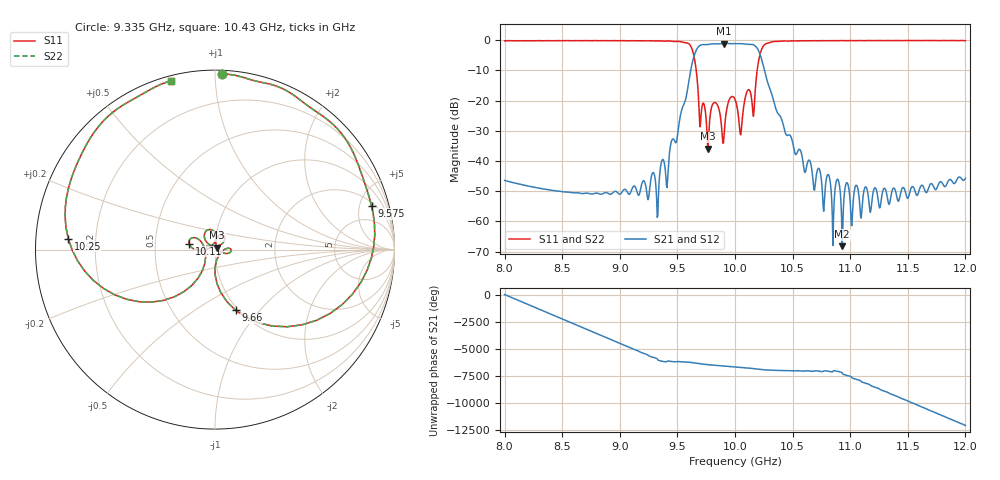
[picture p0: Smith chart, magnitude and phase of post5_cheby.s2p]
! 5th-order post, Chebyshev 0.1 dB (base-paper dimensions)
! openEMS v0.37 FDTD, reciprocal & symmetric: S22=S11, S12=S21
# GHz S MA R 50
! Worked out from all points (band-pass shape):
!   801 points, 8 GHz to 12 GHz, reference 50 ohm
!   highest |S21| = -1.08 dB at 9.905 GHz (marker M1); lowest = -68.2 dB at 10.93 GHz (marker M2)
!   |S21| within 3 dB of the highest: 9.655 GHz to 10.21 GHz (556.4 MHz wide, 5.6 % of centre)
!   lowest |S11| = -35.9 dB at 9.765 GHz (marker M3), VSWR 1.03, Z = 51.3 + j1.02 ohm
!   |S11| at or under -10 dB: 9.663 GHz to 10.19 GHz (528.8 MHz wide, 5.33 % of centre)
!   |S22| runs from -35.9 to -0.1 dB; largest |S21 - S12| = 0
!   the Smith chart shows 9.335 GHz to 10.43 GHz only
!   S11 on the Smith chart (normalised r, x): 9.335 GHz: 0.02, +1.04; 9.575 GHz: 2.38, +6.43; 9.66 GHz: 0.97, -0.75; 10.11 GHz: 0.75, +0.05; 10.25 GHz: 0.10, +0.04; 10.43 GHz: 0.02, +0.77
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8  0.9759 -110.1  0.00476 74.5  0.00476 74.5  0.9759 -110.1
8.67  0.9835 175.3  0.002892 -82.5  0.002892 -82.5  0.9835 175.3
9.335  0.9781 87.9  0.002581 80.2  0.002581 80.2  0.9781 87.9
9.575  0.9055 15.6  0.1125 -87.3  0.1125 -87.3  0.9055 15.6
9.66  0.3569 -71.3  0.6589 170.7  0.6589 170.7  0.3569 -71.3
9.71  0.07146 6.2  0.8409 94.9  0.8409 94.9  0.07146 6.2
9.765  0.01604 38.1  0.8505 31.7  0.8505 31.7  0.01604 38.1
9.825  0.09276 60.5  0.8716 -27.9  0.8716 -27.9  0.09276 60.5
9.905  0.02683 126.8  0.8828 -99.5  0.8828 -99.5  0.02683 126.8
10  0.1048 94.7  0.8779 179.2  0.8779 179.2  0.1048 94.7
10.05  0.02715 142.3  0.8788 135.4  0.8788 135.4  0.02715 142.3
10.11  0.148 166.9  0.8568 80.2  0.8568 80.2  0.148 166.9
10.175  0.1409 -120.8  0.8088 8.1  0.8088 8.1  0.1409 -120.8
10.25  0.82 175.7  0.3521 -85.5  0.3521 -85.5  0.82 175.7
10.425  0.9717 104.7  0.03575 -166.7  0.03575 -166.7  0.9717 104.7
10.67  0.9844 63.2  0.006435 130.9  0.006435 130.9  0.9844 63.2
10.85  0.9846 41.0  0.0003995 128.5  0.0003995 128.5  0.9846 41.0
10.89  0.9846 36.8  0.004993 130.1  0.004993 130.1  0.9846 36.8
10.93  0.9855 32.2  0.0003883 -8.4  0.0003883 -8.4  0.9855 32.2
10.97  0.9849 28.2  0.004368 124.7  0.004368 124.7  0.9849 28.2
11.335  0.9871 -7.9  0.001918 -81.5  0.001918 -81.5  0.9871 -7.9
12  0.9822 -66.8  0.00517 135.3  0.00517 135.3  0.9822 -66.8
